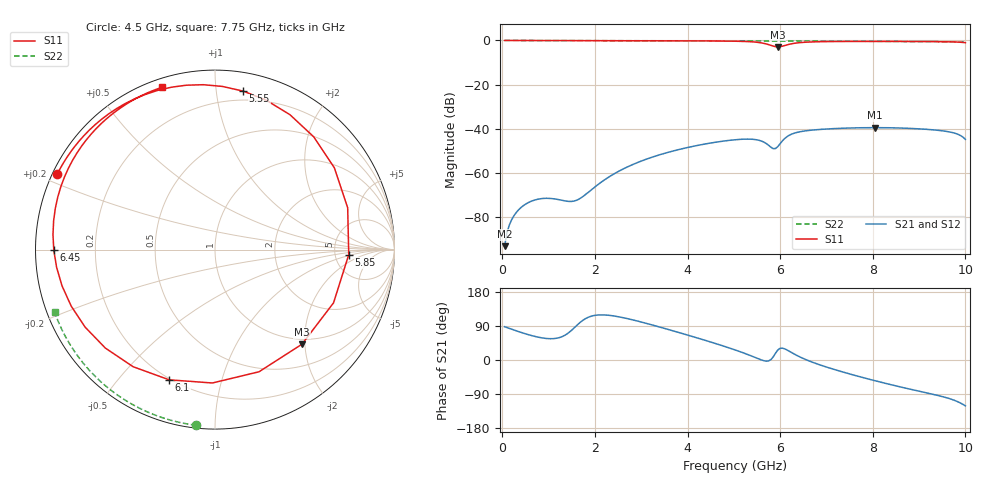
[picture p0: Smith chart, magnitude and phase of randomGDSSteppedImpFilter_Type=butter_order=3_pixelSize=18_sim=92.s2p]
! freq	dB(S11)	phase(S11)	dB(S12)	phase(S12)
!  dB(S21)	phase(S21)	dB(S22)	phase(S22)
!S-par simulation data
#  GHz  S  DB  R 50
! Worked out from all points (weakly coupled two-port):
!   200 points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, 50 MHz to 10 GHz, reference 50 ohm
!   highest |S21| = -39.47 dB at 8.05 GHz (marker M1); lowest = -93.1 dB at 50 MHz (marker M2)
!   lowest |S11| = -2.9 dB at 5.95 GHz (marker M3), VSWR 6.04, Z = 44.9 - j97 ohm
!   |S11| at or under -10 dB: nowhere
!   |S22| runs from -0.7 to 0.0 dB; largest |S21 - S12| = 0
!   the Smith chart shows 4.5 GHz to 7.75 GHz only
!   S11 on the Smith chart (normalised r, x): 4.5 GHz: 0.01, +0.23; 5.55 GHz: 0.13, +1.18; 5.85 GHz: 6.75, -0.87; 6.1 GHz: 0.19, -0.69; 6.45 GHz: 0.05, -0.00; 7.75 GHz: 0.04, +0.73
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0.05  -0.00 -3.3  -93.12 87.8  -93.12 87.8  -0.00 -1.1
0.9  -0.07 -56.7  -71.49 57.6  -71.49 57.6  -0.03 -20.4
1.5  -0.10 -89.2  -72.86 78.8  -72.86 78.8  -0.04 -33.7
1.75  -0.11 -101.3  -70.51 105.6  -70.51 105.6  -0.05 -39.2
2.55  -0.13 -135.1  -58.81 113.1  -58.81 113.1  -0.07 -56.4
3.4  -0.15 -165.9  -51.73 87.0  -51.73 87.0  -0.10 -74.1
4.5  -0.23 154.5  -46.42 47.5  -46.42 47.5  -0.14 -96.1
5.05  -0.35 128.0  -44.91 25.6  -44.91 25.6  -0.16 -106.7
5.55  -0.95 79.9  -45.23 2.2  -45.23 2.2  -0.19 -116.3
5.7  -1.57 48.8  -46.66 -3.0  -46.66 -3.0  -0.20 -119.2
5.85  -2.55 -2.2  -48.97 8.1  -48.97 8.1  -0.21 -122.1
5.95  -2.90 -47.4  -48.03 26.5  -48.03 26.5  -0.22 -124.0
6.1  -2.28 -109.4  -44.35 29.3  -44.35 29.3  -0.23 -126.8
6.25  -1.49 -149.1  -42.38 19.4  -42.38 19.4  -0.24 -129.7
6.45  -0.93 -179.7  -41.24 6.7  -41.24 6.7  -0.25 -133.5
6.7  -0.65 157.6  -40.56 -6.0  -40.56 -6.0  -0.27 -138.3
7.15  -0.48 132.2  -39.91 -24.3  -39.91 -24.3  -0.31 -147.0
7.75  -0.43 107.9  -39.51 -45.2  -39.51 -45.2  -0.36 -158.8
8.05  -0.43 97.2  -39.47 -54.7  -39.47 -54.7  -0.40 -164.8
8.35  -0.44 86.8  -39.52 -63.9  -39.52 -63.9  -0.43 -171.0
9.25  -0.51 56.1  -40.37 -89.2  -40.37 -89.2  -0.55 169.5
10  -1.01 27.5  -44.76 -121.2  -44.76 -121.2  -0.66 151.6
